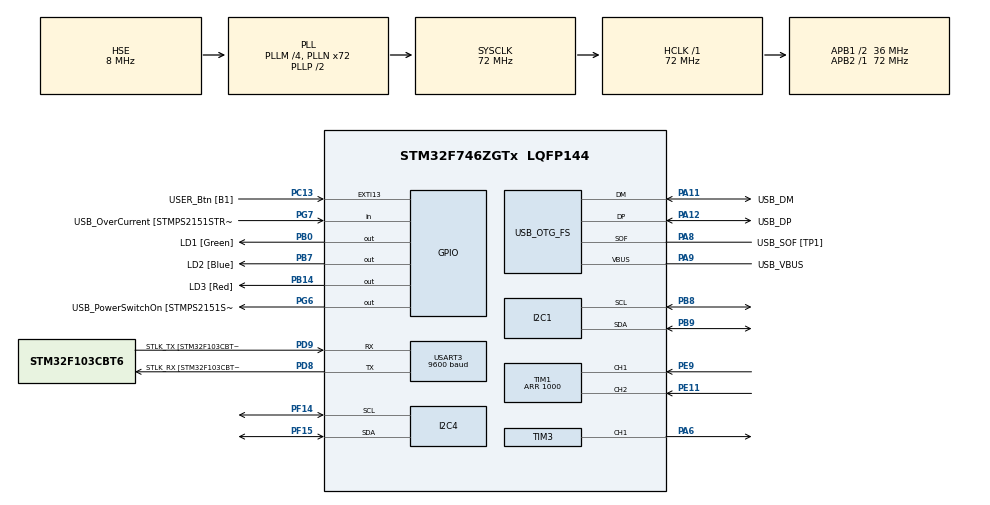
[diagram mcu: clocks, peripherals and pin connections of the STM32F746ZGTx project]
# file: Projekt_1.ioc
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I2C1.Timing=0x00808CD2
I2C4.Timing=0x00808CD2
Mcu.Family=STM32F7
Mcu.Name=STM32F746ZGTx
Mcu.Package=LQFP144
NVIC.PriorityGroup=NVIC_PRIORITYGROUP_4
NVIC.TIM4_IRQn=true\:0\:0\:false\:false\:true\:true\:true
NVIC.USART3_IRQn=true\:0\:0\:false\:false\:true\:true\:true
PA1.GPIO_Label=RMII_REF_CLK [LAN8742A-CZ-TR_REFCLK0]
PA1.Signal=ETH_REF_CLK
PA10.GPIO_Label=USB_ID
PA10.Signal=USB_OTG_FS_ID
PA11.GPIO_Label=USB_DM
PA11.Mode=Device_Only
PA11.Signal=USB_OTG_FS_DM
PA12.GPIO_Label=USB_DP
PA12.Mode=Device_Only
PA12.Signal=USB_OTG_FS_DP
PA13.GPIO_Label=TMS
PA13.Mode=Serial_Wire
PA13.Signal=SYS_JTMS-SWDIO
PA14.GPIO_Label=TCK
PA14.Mode=Serial_Wire
PA14.Signal=SYS_JTCK-SWCLK
PA2.GPIO_Label=RMII_MDIO [LAN8742A-CZ-TR_MDIO]
PA2.Signal=ETH_MDIO
PA6.Signal=S_TIM3_CH1
PA7.GPIO_Label=RMII_CRS_DV [LAN8742A-CZ-TR_CRS_DV]
PA7.Signal=ETH_CRS_DV
PA8.GPIO_Label=USB_SOF [TP1]
PA8.Mode=Activate_SOF_FS
PA8.Signal=USB_OTG_FS_SOF
PA9.GPIO_Label=USB_VBUS
PA9.Mode=Activate_VBUS
PA9.Signal=USB_OTG_FS_VBUS
PB0.GPIO_Label=LD1 [Green]
PB0.Signal=GPIO_Output
PB13.GPIO_Label=RMII_TXD1 [LAN8742A-CZ-TR_TXD1]
PB13.Signal=ETH_TXD1
PB14.GPIO_Label=LD3 [Red]
PB14.Signal=GPIO_Output
PB3.GPIO_Label=SW0
PB3.Signal=SYS_JTDO-SWO
PB7.GPIO_Label=LD2 [Blue]
PB7.Signal=GPIO_Output
PB8.Mode=I2C
PB8.Signal=I2C1_SCL
PB9.Mode=I2C
PB9.Signal=I2C1_SDA
PC1.GPIO_Label=RMII_MDC [LAN8742A-CZ-TR_MDC]
PC1.Signal=ETH_MDC
PC13.GPIO_Label=USER_Btn [B1]
PC13.Signal=GPXTI13
PC14/OSC32_IN.Mode=LSE-External-Oscillator
PC14/OSC32_IN.Signal=RCC_OSC32_IN
PC15/OSC32_OUT.Mode=LSE-External-Oscillator
PC15/OSC32_OUT.Signal=RCC_OSC32_OUT
PC4.GPIO_Label=RMII_RXD0 [LAN8742A-CZ-TR_RXD0]
PC4.Signal=ETH_RXD0
PC5.GPIO_Label=RMII_RXD1 [LAN8742A-CZ-TR_RXD1]
PC5.Signal=ETH_RXD1
PD8.GPIO_Label=STLK_RX [STM32F103CBT6_PA3]
PD8.Mode=Asynchronous
PD8.Signal=USART3_TX
PD9.GPIO_Label=STLK_TX [STM32F103CBT6_PA2]
PD9.Mode=Asynchronous
PD9.Signal=USART3_RX
PE11.Signal=S_TIM1_CH2
PE9.Signal=S_TIM1_CH1
PF14.GPIO_Pu=GPIO_PULLUP
PF14.Mode=I2C
PF14.Signal=I2C4_SCL
PF15.GPIO_Pu=GPIO_PULLUP
PF15.Mode=I2C
PF15.Signal=I2C4_SDA
PG11.GPIO_Label=RMII_TX_EN [LAN8742A-CZ-TR_TXEN]
PG11.Signal=ETH_TX_EN
PG13.GPIO_Label=RMII_TXD0 [LAN8742A-CZ-TR_TXD0]
PG13.Signal=ETH_TXD0
PG6.GPIO_Label=USB_PowerSwitchOn [STMPS2151STR_EN]
PG6.Signal=GPIO_Output
PG7.GPIO_Label=USB_OverCurrent [STMPS2151STR_FAULT]
PG7.Signal=GPIO_Input
PH0/OSC_IN.GPIO_Label=MCO [STM32F103CBT6_PA8]
PH0/OSC_IN.Mode=HSE-External-Clock-Source
PH0/OSC_IN.Signal=RCC_OSC_IN
PH1/OSC_OUT.Mode=HSE-External-Clock-Source
PH1/OSC_OUT.Signal=RCC_OSC_OUT
ProjectManager.HeapSize=0x200
ProjectManager.StackSize=0x400
ProjectManager.TargetToolchain=STM32CubeIDE
RCC.48MHZClocksFreq_Value=24000000
RCC.AHBFreq_Value=72000000
RCC.APB1CLKDivider=RCC_HCLK_DIV2
RCC.APB1Freq_Value=36000000
RCC.APB1TimFreq_Value=72000000
RCC.APB2Freq_Value=72000000
RCC.APB2TimFreq_Value=72000000
RCC.CortexFreq_Value=72000000
RCC.HCLKFreq_Value=72000000
RCC.HSE_VALUE=8000000
RCC.HSI_VALUE=16000000
RCC.PLLM=4
RCC.PLLMUL=RCC_PLL_MUL9
RCC.PLLN=72
RCC.PLLQ=3
RCC.PRESCALERUSB=RCC_USBCLKSOURCE_PLL_DIV1_5
RCC.SYSCLKFreq_VALUE=72000000
RCC.SYSCLKSource=RCC_SYSCLKSOURCE_PLLCLK
RCC.SYSCLKSourceVirtual=RCC_SYSCLKSOURCE_PLLCLK
RCC.USBFreq_Value=48000000
RCC.VCOOutputFreq_Value=144000000
SH.S_TIM1_CH1.0=TIM1_CH1,Encoder_Interface
SH.S_TIM1_CH2.0=TIM1_CH2,Encoder_Interface
SH.S_TIM3_CH1.0=TIM3_CH1,PWM Generation1 CH1
TIM1.AutoReloadPreload=TIM_AUTORELOAD_PRELOAD_DISABLE
TIM1.ClockDivision=TIM_CLOCKDIVISION_DIV1
TIM1.CounterMode=TIM_COUNTERMODE_UP
TIM1.IC1Prescaler=TIM_ICPSC_DIV1
TIM1.IC2Prescaler=TIM_ICPSC_DIV1
TIM1.Period=1000
TIM3.AutoReloadPreload=TIM_AUTORELOAD_PRELOAD_ENABLE
TIM3.Channel-PWM\ Generation1\ CH1=TIM_CHANNEL_1
TIM3.Period=999
TIM3.Prescaler=71
TIM4.AutoReloadPreload=TIM_AUTORELOAD_PRELOAD_ENABLE
TIM4.Period=999
TIM4.Prescaler=719
USART3.BaudRate=9600
USART3.VirtualMode-Asynchronous=VM_ASYNC
USB_OTG_FS.VirtualMode=Device_Only
VP_TIM3_VS_ClockSourceINT.Mode=Internal
VP_TIM4_VS_ClockSourceINT.Mode=Internal
board=NUCLEO-F746ZG

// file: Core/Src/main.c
/* USER CODE BEGIN Header */
/**
 ******************************************************************************
 * @file           : main.c
 * @brief          : Main program body
 ******************************************************************************
 * @attention
 *
 * <h2><center>&copy; Copyright (c) 2022 STMicroelectronics.
 * All rights reserved.</center></h2>
 *
 * This software component is licensed by ST under BSD 3-Clause license,
 * the "License"; You may not use this file except in compliance with the
 * License. You may obtain a copy of the License at:
 *                        opensource.org/licenses/BSD-3-Clause
 *
 ******************************************************************************
 */
/* USER CODE END Header */
#include "main.h"
#include "i2c.h"
#include "tim.h"
#include "usart.h"
#include "usb_otg.h"
#include "gpio.h"

/* USER CODE BEGIN Includes */
#include "lcd_i2c.h"
#include <stdbool.h>
#include <stdio.h>
#include <stdlib.h>
#include <string.h>
#include "bh1750.h"

/* USER CODE END Includes */

/* USER CODE BEGIN PV */
struct lcd_disp disp;
BH1750_HandleTypeDef sensor = { .I2C = &hi2c1, .Address = BH1750_ADDRESS_L,
		.Timeout = 0xffff };
char msg2[32];
//nastawy PID
float Kp = 0.089;
float Ki = 1.5;
float Td = -0.0006;
float N = 189.0;
//warunki początkowe
float prev_int = 0.0f;
float prev_error = 0.0f;
float prev_d = 0.0;

//zegar na 100hz
float Tp = 0.01f;

float set_value = 0.0;
float luxint = 0.0f;
uint16_t duty;

/* USER CODE END PV */

void SystemClock_Config(void);

/* USER CODE BEGIN 0 */

void PID() {

	luxint = BH1750_ReadIlluminance_lux(&sensor);
	float error = set_value - luxint;

	float u;
	//P
	float u_P = Kp * error;
	//I
	float integral = (error + prev_error + prev_int);
	float u_I = Ki * Tp / 2 * integral;
	prev_int = integral;
	//D
	float derivative = (error - prev_error) / Tp;
	//float u_D=Td*derivative;
	float u_D = Td * N / (1 + N * (1 / derivative));
	prev_error = error;

	u = u_P + u_I + u_D;

	duty = (uint16_t) u;

	if (duty > 999) {
		duty = 999;
	}

	htim3.Instance->CCR1 = duty;

}

void HAL_TIM_PeriodElapsedCallback(TIM_HandleTypeDef *htim) {

	if (htim->Instance == TIM4) {
		//luxint = BH1750_ReadIlluminance_lux(&sensor);
		PID();

	}
}
void HAL_UART_RxCpltCallback(UART_HandleTypeDef *huart)
{
	if(huart->Instance == USART3)
	{
		set_value = (((uint16_t)msg2[0]-48)*1000)+(((uint16_t)msg2[1]-48)*100)+(((uint16_t)msg2[2]-48)*10)+(((uint16_t)msg2[3]-48)*1);
		TIM1->CNT = set_value;
		TIM1->CNT=TIM1->CNT/50;
		HAL_UART_Receive_IT(&huart3, &msg2, 4);
	}
}
/* USER CODE END 0 */

int main(void)
{

  /* MCU Configuration--------------------------------------------------------*/

  /* Reset of all peripherals, Initializes the Flash interface and the Systick. */
  HAL_Init();

  /* Configure the system clock */
  SystemClock_Config();

  /* Initialize all configured peripherals */
  MX_GPIO_Init();
  MX_USART3_UART_Init();
  MX_USB_OTG_FS_PCD_Init();
  MX_I2C1_Init();
  MX_I2C4_Init();
  MX_TIM1_Init();
  MX_TIM3_Init();
  MX_TIM4_Init();
  /* USER CODE BEGIN 2 */
	HAL_TIM_Base_Start_IT(&htim4);
	HAL_TIM_PWM_Start(&htim3, TIM_CHANNEL_1);
	HAL_TIM_Encoder_Start(&htim1, TIM_CHANNEL_ALL);
	HAL_UART_Receive_IT(&huart3, &msg2, 4);
	BH1750_Init(&sensor);

	disp.addr = (0x27 << 1);
	disp.bl = true;
	lcd_init(&disp);

	//HAL_Delay(1000);
	// __HAL_TIM_SET_COMPARE(&htim3, TIM_CHANNEL_1,1000);

  /* USER CODE END 2 */

  /* Infinite loop */
  /* USER CODE BEGIN WHILE */
	while (1) {

		set_value = __HAL_TIM_GET_COUNTER(&htim1)*50;
		if(set_value>4100){set_value=4100;}
		uint16_t f1 = set_value;
		sprintf(msg2, "Wartosc zadana = %d  ", f1);//wyswietlanie wartosci zadanej
		HAL_UART_Transmit(&huart3, (uint8_t*)msg2, strlen(msg2), 100);//wyswietlanie wartosci zadanej
		//odczyt czujnika

		uint16_t f2 = luxint;
		char str[18];
		sprintf(str, "Odczyt= %d lux  ", f2);
		HAL_UART_Transmit(&huart3, (uint8_t*) str, strlen(str), 100);

		char str2[13];
		sprintf(str2, "PWM %d%% \r\n", duty/10);
		HAL_UART_Transmit(&huart3, (uint8_t*) str2, strlen(str2), 100);

		//wysłanie odczytu na LCD
		uint16_t f = set_value; //wartosc zadana i wypelnienie w %
		sprintf((char*) disp.f_line, "Set=%d PWM %d%%", f, duty / 10);

		uint16_t s = luxint; // odczyt czujnika
		sprintf((char*) disp.s_line, "Read[lux]= %d", s);
		lcd_display(&disp);
		HAL_Delay(1000);

    /* USER CODE END WHILE */

	}
}

void SystemClock_Config(void)
{
  RCC_OscInitTypeDef RCC_OscInitStruct = {0};
  RCC_ClkInitTypeDef RCC_ClkInitStruct = {0};
  RCC_PeriphCLKInitTypeDef PeriphClkInitStruct = {0};

  /** Configure LSE Drive Capability
  */
  HAL_PWR_EnableBkUpAccess();
  /** Configure the main internal regulator output voltage
  */
  __HAL_RCC_PWR_CLK_ENABLE();
  __HAL_PWR_VOLTAGESCALING_CONFIG(PWR_REGULATOR_VOLTAGE_SCALE3);
  /** Initializes the RCC Oscillators according to the specified parameters
  * in the RCC_OscInitTypeDef structure.
  */
  RCC_OscInitStruct.OscillatorType = RCC_OSCILLATORTYPE_HSE;
  RCC_OscInitStruct.HSEState = RCC_HSE_BYPASS;
  RCC_OscInitStruct.PLL.PLLState = RCC_PLL_ON;
  RCC_OscInitStruct.PLL.PLLSource = RCC_PLLSOURCE_HSE;
  RCC_OscInitStruct.PLL.PLLM = 4;
  RCC_OscInitStruct.PLL.PLLN = 72;
  RCC_OscInitStruct.PLL.PLLP = RCC_PLLP_DIV2;
  RCC_OscInitStruct.PLL.PLLQ = 3;
  if (HAL_RCC_OscConfig(&RCC_OscInitStruct) != HAL_OK)
  {
    Error_Handler();
  }
  /** Initializes the CPU, AHB and APB buses clocks
  */
  RCC_ClkInitStruct.ClockType = RCC_CLOCKTYPE_HCLK|RCC_CLOCKTYPE_SYSCLK
                              |RCC_CLOCKTYPE_PCLK1|RCC_CLOCKTYPE_PCLK2;
  RCC_ClkInitStruct.SYSCLKSource = RCC_SYSCLKSOURCE_PLLCLK;
  RCC_ClkInitStruct.AHBCLKDivider = RCC_SYSCLK_DIV1;
  RCC_ClkInitStruct.APB1CLKDivider = RCC_HCLK_DIV2;
  RCC_ClkInitStruct.APB2CLKDivider = RCC_HCLK_DIV1;

  if (HAL_RCC_ClockConfig(&RCC_ClkInitStruct, FLASH_LATENCY_2) != HAL_OK)
  {
    Error_Handler();
  }
  PeriphClkInitStruct.PeriphClockSelection = RCC_PERIPHCLK_USART3|RCC_PERIPHCLK_I2C1
                              |RCC_PERIPHCLK_I2C4|RCC_PERIPHCLK_CLK48;
  PeriphClkInitStruct.Usart3ClockSelection = RCC_USART3CLKSOURCE_PCLK1;
  PeriphClkInitStruct.I2c1ClockSelection = RCC_I2C1CLKSOURCE_PCLK1;
  PeriphClkInitStruct.I2c4ClockSelection = RCC_I2C4CLKSOURCE_PCLK1;
  PeriphClkInitStruct.Clk48ClockSelection = RCC_CLK48SOURCE_PLL;
  if (HAL_RCCEx_PeriphCLKConfig(&PeriphClkInitStruct) != HAL_OK)
  {
    Error_Handler();
  }
}

void Error_Handler(void)
{
	__disable_irq();
	while (1) {
	}
}

/************************ (C) COPYRIGHT STMicroelectronics *****END OF FILE****/
